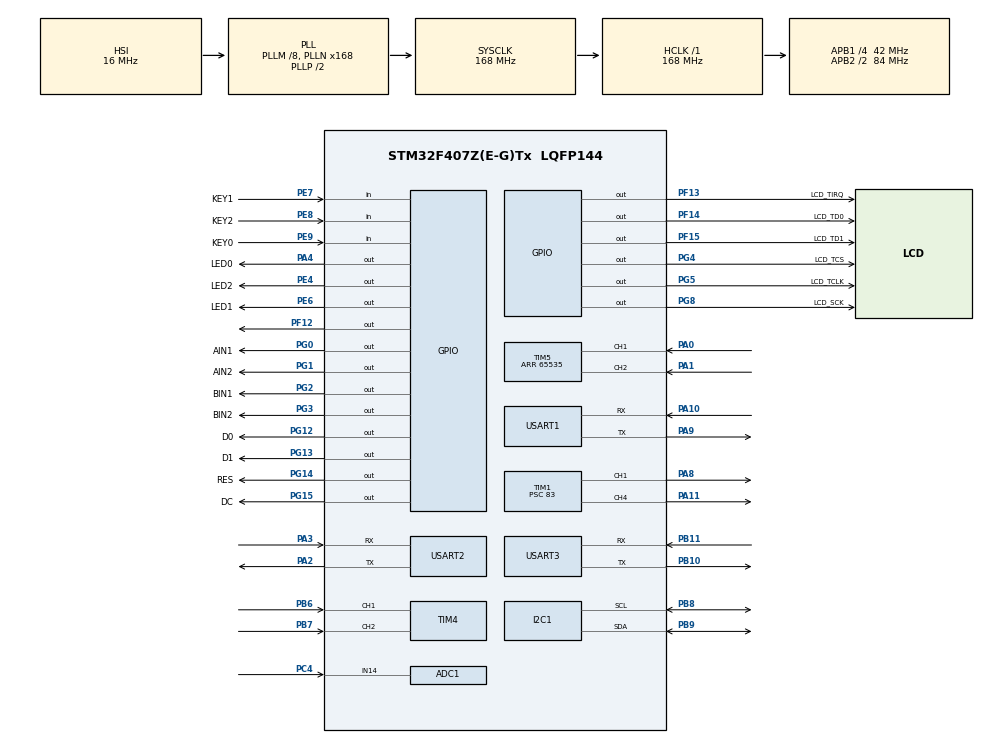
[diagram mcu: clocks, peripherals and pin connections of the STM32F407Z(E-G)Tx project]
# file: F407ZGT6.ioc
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ADC1.Channel-0\#ChannelRegularConversion=ADC_CHANNEL_14
ADC1.NbrOfConversionFlag=1
ADC1.Rank-0\#ChannelRegularConversion=1
ADC1.SamplingTime-0\#ChannelRegularConversion=ADC_SAMPLETIME_3CYCLES
ADC1.master=1
Dma.Request0=USART1_RX
Dma.Request1=USART1_TX
Dma.USART1_RX.0.Direction=DMA_PERIPH_TO_MEMORY
Dma.USART1_RX.0.FIFOMode=DMA_FIFOMODE_DISABLE
Dma.USART1_RX.0.Instance=DMA2_Stream2
Dma.USART1_RX.0.MemDataAlignment=DMA_MDATAALIGN_BYTE
Dma.USART1_RX.0.MemInc=DMA_MINC_ENABLE
Dma.USART1_RX.0.Mode=DMA_NORMAL
Dma.USART1_RX.0.PeriphDataAlignment=DMA_PDATAALIGN_BYTE
Dma.USART1_RX.0.PeriphInc=DMA_PINC_DISABLE
Dma.USART1_RX.0.Priority=DMA_PRIORITY_LOW
Dma.USART1_TX.1.Direction=DMA_MEMORY_TO_PERIPH
Dma.USART1_TX.1.FIFOMode=DMA_FIFOMODE_DISABLE
Dma.USART1_TX.1.Instance=DMA2_Stream7
Dma.USART1_TX.1.MemDataAlignment=DMA_MDATAALIGN_BYTE
Dma.USART1_TX.1.MemInc=DMA_MINC_ENABLE
Dma.USART1_TX.1.Mode=DMA_NORMAL
Dma.USART1_TX.1.PeriphDataAlignment=DMA_PDATAALIGN_BYTE
Dma.USART1_TX.1.PeriphInc=DMA_PINC_DISABLE
Dma.USART1_TX.1.Priority=DMA_PRIORITY_LOW
I2C1.I2C_Mode=I2C_Fast
Mcu.Family=STM32F4
Mcu.Name=STM32F407Z(E-G)Tx
Mcu.Package=LQFP144
NVIC.DMA2_Stream2_IRQn=true\:0\:0\:false\:false\:true\:false\:true\:true
NVIC.DMA2_Stream7_IRQn=true\:0\:0\:false\:false\:true\:false\:true\:true
NVIC.PriorityGroup=NVIC_PRIORITYGROUP_4
NVIC.TIM6_DAC_IRQn=true\:0\:0\:false\:false\:true\:true\:true\:true
NVIC.TIM7_IRQn=true\:1\:0\:true\:false\:true\:true\:true\:true
NVIC.USART1_IRQn=true\:0\:0\:false\:false\:true\:true\:true\:true
NVIC.USART2_IRQn=true\:0\:0\:false\:false\:true\:true\:true\:true
NVIC.USART3_IRQn=true\:0\:0\:false\:false\:true\:true\:true\:true
PA0-WKUP.Signal=S_TIM5_CH1
PA1.Signal=S_TIM5_CH2
PA10.Mode=Asynchronous
PA10.Signal=USART1_RX
PA11.Signal=S_TIM1_CH4
PA13.Mode=Serial_Wire
PA13.Signal=SYS_JTMS-SWDIO
PA14.Mode=Serial_Wire
PA14.Signal=SYS_JTCK-SWCLK
PA2.Mode=Asynchronous
PA2.Signal=USART2_TX
PA3.Mode=Asynchronous
PA3.Signal=USART2_RX
PA4.GPIO_Label=LED0
PA4.Signal=GPIO_Output
PA8.Signal=S_TIM1_CH1
PA9.Mode=Asynchronous
PA9.Signal=USART1_TX
PB10.Mode=Asynchronous
PB10.Signal=USART3_TX
PB11.Mode=Asynchronous
PB11.Signal=USART3_RX
PB6.Signal=S_TIM4_CH1
PB7.Signal=S_TIM4_CH2
PB8.Mode=I2C
PB8.Signal=I2C1_SCL
PB9.Mode=I2C
PB9.Signal=I2C1_SDA
PC14-OSC32_IN.Mode=LSE-External-Oscillator
PC14-OSC32_IN.Signal=RCC_OSC32_IN
PC15-OSC32_OUT.Mode=LSE-External-Oscillator
PC15-OSC32_OUT.Signal=RCC_OSC32_OUT
PC4.Signal=ADCx_IN14
PE4.GPIO_Label=LED2
PE4.Signal=GPIO_Output
PE6.GPIO_Label=LED1
PE6.Signal=GPIO_Output
PE7.GPIO_Label=KEY1
PE7.Signal=GPIO_Input
PE8.GPIO_Label=KEY2
PE8.Signal=GPIO_Input
PE9.GPIO_Label=KEY0
PE9.Signal=GPIO_Input
PF12.Signal=GPIO_Output
PF13.GPIO_Label=LCD_TIRQ
PF13.Signal=GPIO_Output
PF14.GPIO_Label=LCD_TD0
PF14.Signal=GPIO_Output
PF15.GPIO_Label=LCD_TD1
PF15.Signal=GPIO_Output
PG0.GPIO_Label=AIN1
PG0.Signal=GPIO_Output
PG1.GPIO_Label=AIN2
PG1.Signal=GPIO_Output
PG12.GPIO_Label=D0
PG12.Signal=GPIO_Output
PG13.GPIO_Label=D1
PG13.Signal=GPIO_Output
PG14.GPIO_Label=RES
PG14.Signal=GPIO_Output
PG15.GPIO_Label=DC
PG15.Signal=GPIO_Output
PG2.GPIO_Label=BIN1
PG2.Signal=GPIO_Output
PG3.GPIO_Label=BIN2
PG3.Signal=GPIO_Output
PG4.GPIO_Label=LCD_TCS
PG4.Signal=GPIO_Output
PG5.GPIO_Label=LCD_TCLK
PG5.Signal=GPIO_Output
PG8.GPIO_Label=LCD_SCK
PG8.Signal=GPIO_Output
PH0-OSC_IN.Mode=HSE-External-Oscillator
PH0-OSC_IN.Signal=RCC_OSC_IN
PH1-OSC_OUT.Mode=HSE-External-Oscillator
PH1-OSC_OUT.Signal=RCC_OSC_OUT
ProjectManager.HeapSize=0x200
ProjectManager.StackSize=0x400
ProjectManager.TargetToolchain=MDK-ARM V5.32
RCC.48MHZClocksFreq_Value=84000000
RCC.AHBFreq_Value=168000000
RCC.APB1CLKDivider=RCC_HCLK_DIV4
RCC.APB1Freq_Value=42000000
RCC.APB1TimFreq_Value=84000000
RCC.APB2CLKDivider=RCC_HCLK_DIV2
RCC.APB2Freq_Value=84000000
RCC.APB2TimFreq_Value=168000000
RCC.CortexFreq_Value=168000000
RCC.HCLKFreq_Value=168000000
RCC.HSE_VALUE=25000000
RCC.HSI_VALUE=16000000
RCC.PLLM=8
RCC.PLLN=168
RCC.SYSCLKFreq_VALUE=168000000
RCC.SYSCLKSource=RCC_SYSCLKSOURCE_PLLCLK
RCC.VCOOutputFreq_Value=336000000
SH.ADCx_IN14.0=ADC1_IN14,IN14
SH.S_TIM1_CH1.0=TIM1_CH1,PWM Generation1 CH1
SH.S_TIM1_CH4.0=TIM1_CH4,PWM Generation4 CH4
SH.S_TIM4_CH1.0=TIM4_CH1,Encoder_Interface
SH.S_TIM4_CH2.0=TIM4_CH2,Encoder_Interface
SH.S_TIM5_CH1.0=TIM5_CH1,Encoder_Interface
SH.S_TIM5_CH2.0=TIM5_CH2,Encoder_Interface
TIM1.AutoReloadPreload=TIM_AUTORELOAD_PRELOAD_ENABLE
TIM1.Channel-PWM\ Generation1\ CH1=TIM_CHANNEL_1
TIM1.Channel-PWM\ Generation4\ CH4=TIM_CHANNEL_4
TIM1.Period=19999
TIM1.Prescaler=83
TIM4.EncoderMode=TIM_ENCODERMODE_TI12
TIM4.IC1Polarity=TIM_ICPOLARITY_RISING
TIM4.IC2Polarity=TIM_ICPOLARITY_RISING
TIM5.EncoderMode=TIM_ENCODERMODE_TI12
TIM5.Period=65535
TIM6.AutoReloadPreload=TIM_AUTORELOAD_PRELOAD_ENABLE
TIM6.Period=99
TIM6.Prescaler=8399
TIM7.Period=1999
TIM7.Prescaler=8399
TIM8.Period=8399
TIM8.Prescaler=4
USART1.VirtualMode=VM_ASYNC
USART2.VirtualMode=VM_ASYNC
USART3.VirtualMode=VM_ASYNC
VP_TIM1_VS_ClockSourceINT.Mode=Internal
VP_TIM6_VS_ClockSourceINT.Mode=Enable_Timer
VP_TIM7_VS_ClockSourceINT.Mode=Enable_Timer
VP_TIM8_VS_ClockSourceINT.Mode=Internal
board=custom

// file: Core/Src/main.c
/* USER CODE BEGIN Header */
/**
  ******************************************************************************
  * @file           : main.c
  * @brief          : Main program body
  ******************************************************************************
  * @attention
  *
  * Copyright (c) 2024 STMicroelectronics.
  * All rights reserved.
  *
  * This software is licensed under terms that can be found in the LICENSE file
  * in the root directory of this software component.
  * If no LICENSE file comes with this software, it is provided AS-IS.
  *
  ******************************************************************************
	按键1 选择对应的步进电机
	按键2 选择旋转角度
	按键3 开始转动
  */
/* USER CODE END Header */
#include "main.h"

void SystemClock_Config(void);

/* USER CODE BEGIN 0 */
uint8_t i=0;
uint8_t id=1;
/* USER CODE END 0 */

int main(void)
{

  /* MCU Configuration--------------------------------------------------------*/

  /* Reset of all peripherals, Initializes the Flash interface and the Systick. */
  HAL_Init();

  /* Configure the system clock */
  SystemClock_Config();

  /* Initialize all configured peripherals */
  MX_GPIO_Init();
  MX_DMA_Init();
  MX_TIM6_Init();
  MX_TIM7_Init();
  MX_TIM8_Init();
  MX_USART1_UART_Init();
  MX_USART2_UART_Init();
  MX_USART3_UART_Init();
  MX_TIM4_Init();
  MX_ADC1_Init();
  MX_TIM5_Init();
  MX_I2C1_Init();
  MX_TIM1_Init();
  /* USER CODE BEGIN 2 */
	GPIO_Init();

	HAL_TIM_Base_Start_IT(&htim6);  //10ms
	HAL_TIM_Base_Start_IT(&htim7);  //200ms

	HAL_TIM_PWM_Start(&htim8,TIM_CHANNEL_1);
	HAL_TIM_PWM_Start(&htim8,TIM_CHANNEL_2);
	HAL_TIM_PWM_Start(&htim8,TIM_CHANNEL_3);
	HAL_TIM_PWM_Start(&htim8,TIM_CHANNEL_4);

	HAL_TIM_PWM_Start(&htim1,TIM_CHANNEL_1);//PA8-->���
	HAL_TIM_PWM_Start(&htim1,TIM_CHANNEL_4);//PA11-->���

	HAL_UART_Receive_IT(&huart1,revbuf1,sizeof(revbuf1));
	HAL_UART_Receive_IT(&huart2,revbuf2,sizeof(revbuf2));
	HAL_UART_Receive_IT(&huart3,revbuf3,sizeof(revbuf3));

	HAL_TIM_Encoder_Start(&htim5,TIM_CHANNEL_ALL);//����
	HAL_TIM_Encoder_Start(&htim4,TIM_CHANNEL_ALL);//����

	HAL_ADC_Start(&hadc1);

	PID_param_init();
	//OLED_Init();//初始化
	//������
	MPU_Init(); //��ʼ��MPU6050
	while(mpu_dmp_init()) //DMP��ʼ��
	{
		printf("DMP_Init() %d\r\n",mpu_dmp_init());
	}
	LCD_Init();
	LCD_Static_Show();
	stepper_init(1000 - 1, 168 - 1);         /* 168 000 000 / 168 = 1000 000 1Mhz的计数频率 */
	StepMotor_STOP();
	Set_Stepper_Speed(0.05);   //单位转每秒
  printf("当前控制步进电机接口%d\r\n",id);
  /* USER CODE END 2 */

  /* Infinite loop */
  while (1)
  {

    /* USER CODE BEGIN 3 */
		if(mpu_dmp_get_data(&pitch, &roll, &yaw)==0)
		{
			printf("pitch:%.3f\r\n",pitch);
			printf("roll:%.3f\r\n",roll);
			printf("yaw:%.3f\r\n",yaw);
			printf("��ص�ѹ��%.2fV\r\n",ADC_Vol);
//			printf("-----------------------------------------------------------\r\n");
//			HAL_Delay(800);
		}
		LCD_Dynamic_Show();
		Key_Control();
  }
  /* USER CODE END 3 */
}

void SystemClock_Config(void)
{
  RCC_OscInitTypeDef RCC_OscInitStruct = {0};
  RCC_ClkInitTypeDef RCC_ClkInitStruct = {0};

  /** Configure the main internal regulator output voltage
  */
  __HAL_RCC_PWR_CLK_ENABLE();
  __HAL_PWR_VOLTAGESCALING_CONFIG(PWR_REGULATOR_VOLTAGE_SCALE1);

  /** Initializes the RCC Oscillators according to the specified parameters
  * in the RCC_OscInitTypeDef structure.
  */
  RCC_OscInitStruct.OscillatorType = RCC_OSCILLATORTYPE_HSI;
  RCC_OscInitStruct.HSIState = RCC_HSI_ON;
  RCC_OscInitStruct.HSICalibrationValue = RCC_HSICALIBRATION_DEFAULT;
  RCC_OscInitStruct.PLL.PLLState = RCC_PLL_ON;
  RCC_OscInitStruct.PLL.PLLSource = RCC_PLLSOURCE_HSI;
  RCC_OscInitStruct.PLL.PLLM = 8;
  RCC_OscInitStruct.PLL.PLLN = 168;
  RCC_OscInitStruct.PLL.PLLP = RCC_PLLP_DIV2;
  RCC_OscInitStruct.PLL.PLLQ = 4;
  if (HAL_RCC_OscConfig(&RCC_OscInitStruct) != HAL_OK)
  {
    Error_Handler();
  }

  /** Initializes the CPU, AHB and APB buses clocks
  */
  RCC_ClkInitStruct.ClockType = RCC_CLOCKTYPE_HCLK|RCC_CLOCKTYPE_SYSCLK
                              |RCC_CLOCKTYPE_PCLK1|RCC_CLOCKTYPE_PCLK2;
  RCC_ClkInitStruct.SYSCLKSource = RCC_SYSCLKSOURCE_PLLCLK;
  RCC_ClkInitStruct.AHBCLKDivider = RCC_SYSCLK_DIV1;
  RCC_ClkInitStruct.APB1CLKDivider = RCC_HCLK_DIV4;
  RCC_ClkInitStruct.APB2CLKDivider = RCC_HCLK_DIV2;

  if (HAL_RCC_ClockConfig(&RCC_ClkInitStruct, FLASH_LATENCY_5) != HAL_OK)
  {
    Error_Handler();
  }
}

void Error_Handler(void)
{
  __disable_irq();
  while (1)
  {
  }
}
